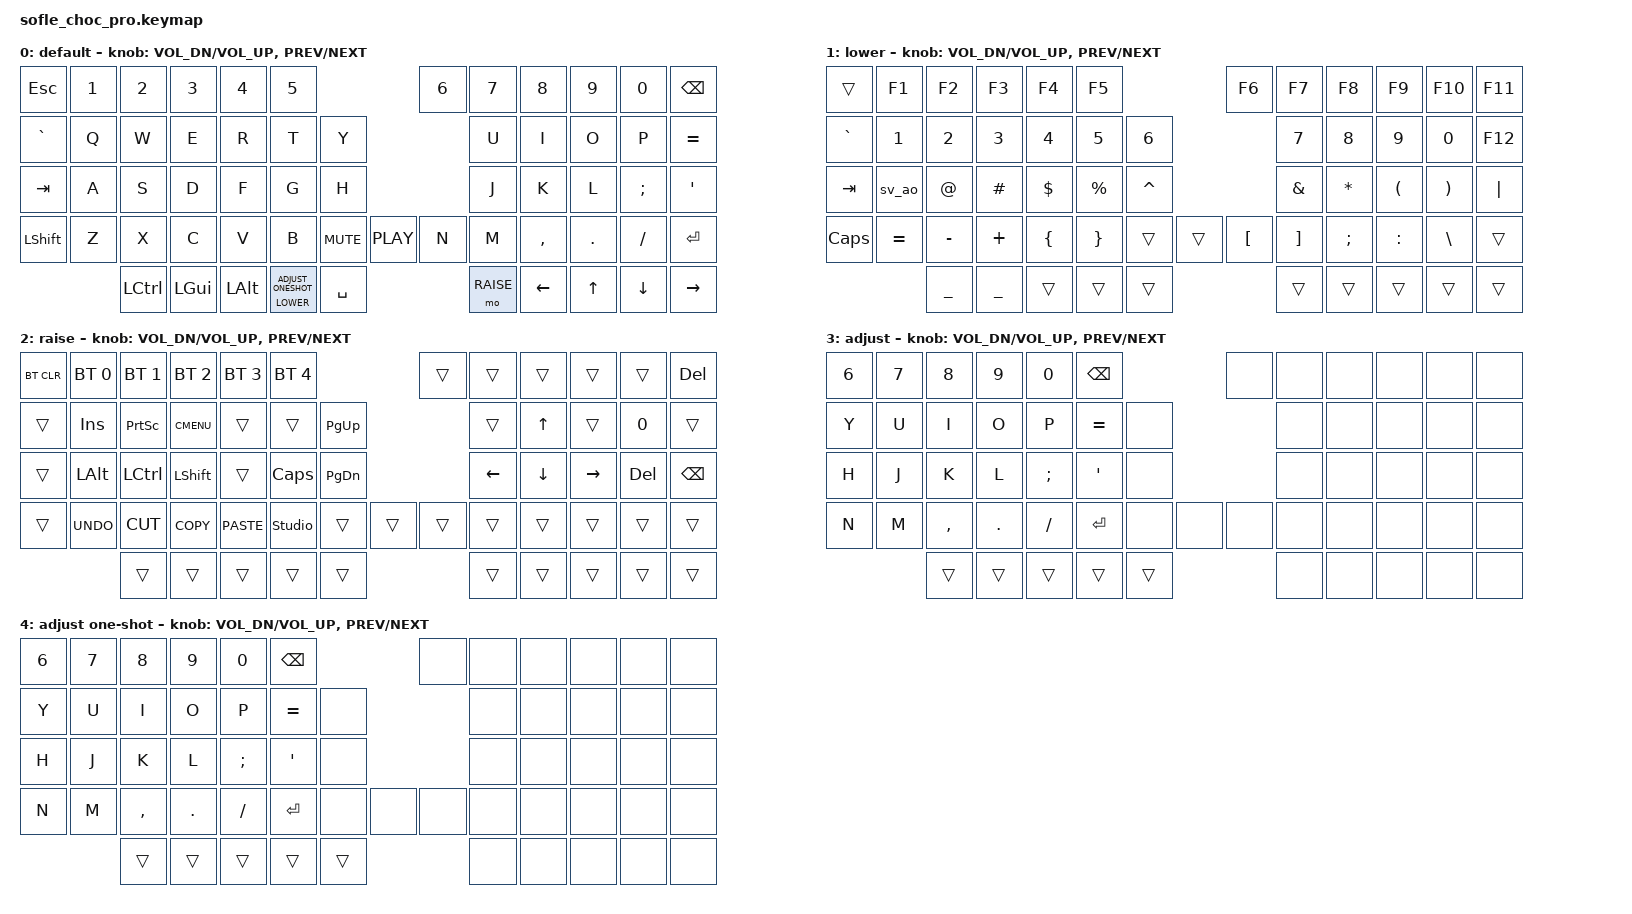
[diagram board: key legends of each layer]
/*
 * Copyright (c) 2020 The ZMK Contributors
 *
 * SPDX-License-Identifier: MIT
 */

#include <behaviors.dtsi>
#include <dt-bindings/zmk/bt.h>
#include <dt-bindings/zmk/ext_power.h>
#include <dt-bindings/zmk/keys.h>
#include <dt-bindings/zmk/rgb.h>

#include "../zmk-nodefree-config/helper.h"
#include "../zmk-nodefree-config/international_chars/swedish.dtsi"

#define BASE 0
#define LOWER 1
#define RAISE 2
#define ADJUST 3
#define ADJUST_ONESHOT 4

/ {
    behaviors {
        adjust_oneshot: adjust_oneshot {
            compatible = "zmk,behavior-sticky-key";
            #binding-cells = <1>;

            bindings = <&mo>;
            release-after-ms = <5000>;
            quick-release;
        };

        lower_adjust: lower_adjust {
            compatible = "zmk,behavior-hold-tap";
            #binding-cells = <2>;

            // An overlapping key selects LOWER; releasing this key alone selects
            // the one-shot layer, even if it was held past the tapping term.
            flavor = "hold-preferred";
            tapping-term-ms = <200>;
            retro-tap;

            bindings = <&mo>, <&adjust_oneshot>;
        };
    };

    conditional_layers {
        compatible = "zmk,conditional-layers";

        adjust_layer {
            if-layers = <LOWER RAISE>;
            then-layer = <ADJUST>;
        };
    };

    keymap {
        compatible = "zmk,keymap";

        default_layer {
            display-name = "default";

            // ------------------------------------------------------------------------------------------------------------
            // |  ESC  |  1  |  2  |  3   |  4   |  5   |                   |  6   |  7    |  8    |  9   |   0   | BKSPC |
            // |   `   |  Q  |  W  |  E   |  R   |  T   |                   |  Y   |  U    |  I    |  O   |   P   |   =   |
            // |  TAB  |  A  |  S  |  D   |  F   |  G   |                   |  H   |  J    |  K    |  L   |   ;   |   '   |
            // | SHIFT |  Z  |  X  |  C   |  V   |  B   |  MUTE  |  | PLAY  |  N   |  M    |  ,    |  .   |   /   | ENTER |
            //               | CTRL | GUI  | ALT  | LOWER| SPACE  |  | RAISE | LEFT | UP    | DOWN  | RIGHT|

            bindings = <
&kp ESCAPE  &kp N1  &kp N2     &kp N3        &kp N4        &kp N5                             &kp N6          &kp N7        &kp N8          &kp N9           &kp N0    &kp BACKSPACE
&kp GRAVE   &kp Q   &kp W      &kp E         &kp R         &kp T      &kp Y                                   &kp U         &kp I           &kp O            &kp P     &kp EQUAL
&kp TAB     &kp A   &kp S      &kp D         &kp F         &kp G      &kp H                                   &kp J         &kp K           &kp L            &kp SEMI  &kp SQT
&kp LSHFT   &kp Z   &kp X      &kp C         &kp V         &kp B      &kp C_MUTE  &kp C_PLAY  &kp N           &kp M         &kp COMMA       &kp DOT          &kp FSLH  &kp ENTER
                    &kp LCTRL  &kp LEFT_GUI  &kp LEFT_ALT  &lower_adjust LOWER ADJUST_ONESHOT  &kp SPACE   &mo RAISE   &kp LEFT_ARROW  &kp UP_ARROW  &kp DOWN_ARROW  &kp RIGHT_ARROW
            >;

            sensor-bindings =
                <&inc_dec_kp C_VOL_DN C_VOL_UP>,
                <&inc_dec_kp C_PREV C_NEXT>;
        };

        lower_layer {
            display-name = "lower";

            // ------------------------------------------------------------------------------------------------------------
            // |       |  F1 |  F2 |  F3  |  F4  |  F5  |                   |  F6  |  F7   |  F8   |  F9  |  F10  |  F11  |
            // |   `   |  1  |  2  |  3   |  4   |  5   |                   |  6   |  7    |  8    |  9   |   0   |  F12  |
            // |  TAB  |  Å  |  @  |  #   |  $   |  %   |                   |  ^   |  &    |  *    |  (   |   )   |   |   |
            // | CAPS  |  =  |  -  |  +   |  {   |  }   |        |  |       |  [   |  ]    |  ;    |  :   |   \   |       |
            //               |  _  |  _   |      |      |      |  |       |      |       |       |      |

            bindings = <
&trans     &kp F1          &kp F2          &kp F3          &kp F4    &kp F5                        &kp F6    &kp F7    &kp F8     &kp F9     &kp F10    &kp F11
&kp GRAVE  &kp N1          &kp N2          &kp N3          &kp N4    &kp N5     &kp N6                       &kp N7    &kp N8     &kp N9     &kp N0     &kp F12
&kp TAB    &sv_ao          &kp AT          &kp HASH        &kp DLLR  &kp PRCNT  &kp CARET                    &kp AMPS  &kp ASTRK  &kp LPAR   &kp RPAR   &kp PIPE
&kp CAPS   &kp EQUAL       &kp MINUS       &kp PLUS        &kp LBRC  &kp RBRC   &trans     &trans  &kp LBKT  &kp RBKT  &kp SEMI   &kp COLON  &kp BSLH   &trans
                      &kp UNDERSCORE  &kp UNDERSCORE  &trans    &trans     &trans     &trans  &trans    &trans    &trans     &trans
            >;

            sensor-bindings = <&inc_dec_kp C_VOL_DN C_VOL_UP &inc_dec_kp C_PREV C_NEXT>;
        };

        raise_layer {
            display-name = "raise";

            // ------------------------------------------------------------------------------------------------------------
            // | BTCLR | BT1  | BT2  |  BT3  |  BT4  |  BT5 |                |      |      |       |      |       |  DEL  |
            // |       | INS  | PSCR | MENU  |       |      |                | PGUP |      |   ^   |      |   0   |       |
            // |       | ALT  | CTRL | SHIFT |       | CAPS |                | PGDN |   <- |   v   |  ->  |  DEL  | BKSPC |
            // |       | UNDO | CUT  | COPY  | PASTE |STUDIO|      |  |      |      |      |       |      |       |       |
            //                |      |       |       |      |      |  |      |      |      |       |      |

            bindings = <
&bt BT_CLR  &bt BT_SEL 0  &bt BT_SEL 1  &bt BT_SEL 2  &bt BT_SEL 3  &bt BT_SEL 4                       &trans  &trans    &trans    &trans     &trans   &kp DEL
&trans      &kp INS       &kp PSCRN     &kp K_CMENU   &trans        &trans          &kp PG_UP                  &trans    &kp UP    &trans     &kp N0   &trans
&trans      &kp LALT      &kp LCTRL     &kp LSHFT     &trans        &kp CLCK        &kp PG_DN                  &kp LEFT  &kp DOWN  &kp RIGHT  &kp DEL  &kp BSPC
&trans      &kp K_UNDO    &kp K_CUT     &kp K_COPY    &kp K_PASTE   &studio_unlock  &trans     &trans  &trans  &trans    &trans    &trans     &trans   &trans
                          &trans        &trans        &trans        &trans          &trans     &trans  &trans  &trans    &trans    &trans
            >;

            sensor-bindings =
                <&inc_dec_kp C_VOL_DN C_VOL_UP>,
                <&inc_dec_kp C_PREV C_NEXT>;
        };

        adjust_layer {
            display-name = "adjust";

            // ----------------------------------------------------------------------------------------------------------------------------
            // Normal right-hand DEFAULT keys copied onto the LEFT side:
            //
            // |   6   |  7  |  8  |  9  |  0  | BKSPC |
            // |   Y   |  U  |  I  |  O  |  P  |   =   |
            // |   H   |  J  |  K  |  L  |  ;  |   '   |
            // |   N   |  M  |  ,  |  .  |  /  | ENTER |
            //
            // Tap LOWER, then:
            //
            // Q -> Y
            // W -> U
            // E -> I
            // R -> O
            // T -> P
            //
            // A -> H
            // S -> J
            // D -> K
            // F -> L
            // G -> ;
            //
            // Z -> N
            // X -> M
            // C -> ,
            // V -> .
            // B -> /

            bindings = <
&kp N6     &kp N7  &kp N8     &kp N9   &kp N0    &kp BACKSPACE                           &none  &none  &none  &none  &none  &none
&kp Y      &kp U   &kp I      &kp O    &kp P     &kp EQUAL      &none                          &none  &none  &none  &none  &none
&kp H      &kp J   &kp K      &kp L    &kp SEMI  &kp SQT        &none                          &none  &none  &none  &none  &none
&kp N      &kp M   &kp COMMA  &kp DOT  &kp FSLH  &kp ENTER      &none  &none  &none  &none  &none  &none  &none  &none
                    &trans    &trans    &trans     &trans         &trans  &none  &none  &none  &none  &none
            >;

            sensor-bindings =
                <&inc_dec_kp C_VOL_DN C_VOL_UP>,
                <&inc_dec_kp C_PREV C_NEXT>;
        };

        adjust_oneshot_layer {
            display-name = "adjust one-shot";

            // This layer intentionally mirrors ADJUST. It must be separate because
            // a conditional then-layer is deactivated whenever its condition is false.
            bindings = <
&kp N6     &kp N7  &kp N8     &kp N9   &kp N0    &kp BACKSPACE                           &none  &none  &none  &none  &none  &none
&kp Y      &kp U   &kp I      &kp O    &kp P     &kp EQUAL      &none                          &none  &none  &none  &none  &none
&kp H      &kp J   &kp K      &kp L    &kp SEMI  &kp SQT        &none                          &none  &none  &none  &none  &none
&kp N      &kp M   &kp COMMA  &kp DOT  &kp FSLH  &kp ENTER      &none  &none  &none  &none  &none  &none  &none  &none
                    &trans    &trans    &trans     &trans         &trans  &none  &none  &none  &none  &none
            >;

            sensor-bindings =
                <&inc_dec_kp C_VOL_DN C_VOL_UP>,
                <&inc_dec_kp C_PREV C_NEXT>;
        };
    };
};
